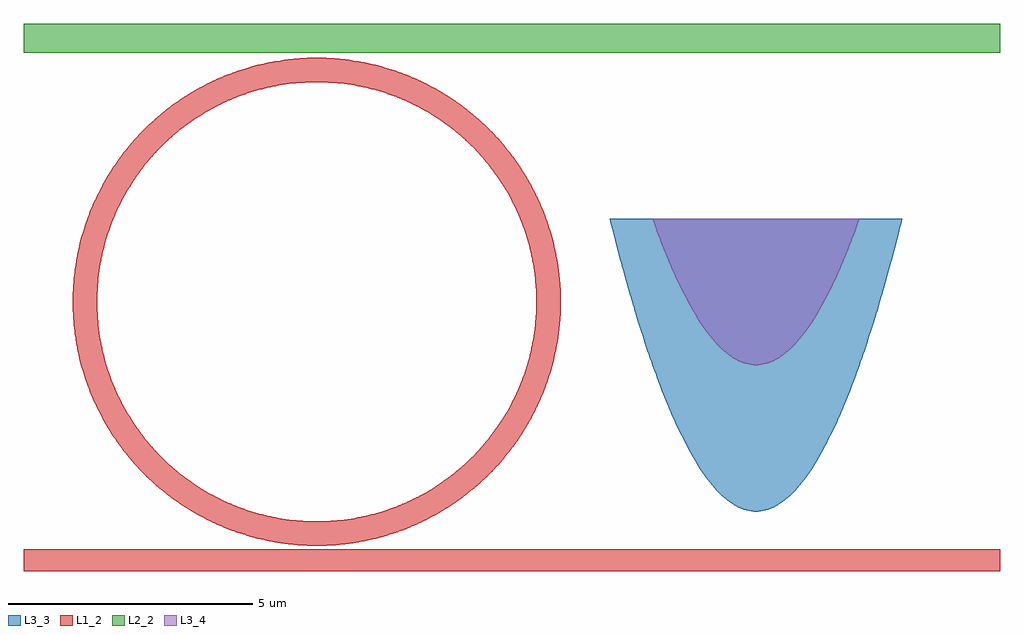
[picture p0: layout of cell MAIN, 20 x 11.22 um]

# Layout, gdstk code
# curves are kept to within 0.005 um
import gdstk
lib = gdstk.Library(unit=1e-6, precision=1e-09)
def R(c, l, rs):  # rectangles x0, y0, x1, y1
    for r in rs: c.add(gdstk.rectangle(r[:2], r[2:], *l))
def P(c, l, *ps):  # polygons
    for p in ps: c.add(gdstk.Polygon(p, *l))
L1_2 = (1, 2)
L2_2 = (2, 2)
L3_3 = (3, 3)
L3_4 = (3, 4)

main = lib.new_cell('MAIN')
R(main, L1_2, [(-10,-0.225,10,0.225)])
P(main, L1_2, [(-3.921,0.301),(-3.529,0.322),(-3.14,0.374),(-2.795,0.447),(-2.53,0.521),(-2.159,0.651),(-1.907,0.759),(-1.591,0.918),(-1.283,1.103),(-2.376,1.103),(-2.609,1.02),(-2.813,0.959),(-3.122,0.886),(-3.541,0.823),(-3.965,0.8),(-4.177,0.803),(-4.459,0.823),(-4.808,0.873),(-5.187,0.959),(-5.391,1.02),(-5.624,1.103),(-6.717,1.103),(-6.409,0.918),(-6.058,0.743),(-5.657,0.582),(-5.319,0.477),(-4.975,0.396),(-4.627,0.339),(-4.353,0.312),(-4.118,0.301)],
  [(-5.657,1.116),(-5.884,1.213),(-6.106,1.323),(-6.351,1.463),(-6.588,1.618),(-6.814,1.788),(-7.029,1.972),(-7.232,2.168),(-7.375,2.324),(-8.018,2.324),(-7.751,1.993),(-7.591,1.82),(-7.423,1.655),(-7.307,1.549),(-7.065,1.349),(-6.717,1.103),(-5.624,1.103)],
  [(-1.255,1.121),(-0.935,1.349),(-0.693,1.549),(-0.577,1.655),(-0.409,1.82),(-0.249,1.993),(0.018,2.324),(-0.625,2.324),(-0.768,2.168),(-0.971,1.972),(-1.186,1.788),(-1.412,1.618),(-1.649,1.463),(-1.894,1.323),(-2.116,1.213),(-2.376,1.103),(-1.283,1.103)],
  [(-7.399,2.351),(-7.599,2.598),(-7.742,2.8),(-7.909,3.07),(-8.01,3.257),(-8.116,3.48),(-8.222,3.742),(-8.291,3.943),(-8.376,4.248),(-8.888,4.248),(-8.823,3.981),(-8.743,3.718),(-8.649,3.459),(-8.557,3.242),(-8.419,2.96),(-8.324,2.789),(-8.179,2.555),(-8.022,2.329),(-7.375,2.324)],
  [(0.022,2.329),(0.179,2.555),(0.324,2.789),(0.419,2.96),(0.557,3.242),(0.649,3.459),(0.743,3.718),(0.823,3.981),(0.888,4.248),(0.376,4.248),(0.291,3.943),(0.222,3.742),(0.116,3.48),(0.01,3.257),(-0.127,3.009),(-0.298,2.741),(-0.444,2.542),(-0.625,2.324)],
  [(-8.999,5.221),(-8.988,4.947),(-8.97,4.751),(-8.926,4.44),(-8.888,4.248),(-8.376,4.248),(-8.427,4.492),(-8.465,4.736),(-8.489,4.982),(-8.5,5.265),(-8.497,5.477),(-8.477,5.759),(-8.445,6.004),(-8.376,6.352),(-8.888,6.352),(-8.926,6.16),(-8.978,5.771),(-8.998,5.457)],
  [(0.896,4.286),(0.95,4.595),(0.978,4.829),(0.998,5.143),(1,5.339),(0.988,5.653),(0.97,5.849),(0.926,6.16),(0.888,6.352),(0.376,6.352),(0.427,6.108),(0.465,5.864),(0.489,5.618),(0.5,5.335),(0.497,5.123),(0.477,4.841),(0.445,4.596),(0.376,4.248),(0.888,4.248)],
  [(-8.367,6.385),(-8.291,6.657),(-8.197,6.924),(-8.087,7.184),(-7.977,7.406),(-7.837,7.651),(-7.682,7.888),(-7.512,8.114),(-7.375,8.276),(-8.018,8.276),(-8.243,7.946),(-8.419,7.64),(-8.589,7.286),(-8.718,6.957),(-8.823,6.619),(-8.888,6.352),(-8.376,6.352)],
  [(0.88,6.391),(0.823,6.619),(0.718,6.957),(0.557,7.358),(0.419,7.64),(0.324,7.811),(0.179,8.045),(0.022,8.271),(-0.625,8.276),(-0.444,8.058),(-0.298,7.859),(-0.127,7.591),(0.01,7.343),(0.116,7.12),(0.222,6.858),(0.291,6.657),(0.376,6.352),(0.888,6.352)],
  [(-7.352,8.302),(-7.232,8.432),(-7.029,8.628),(-6.814,8.812),(-6.588,8.982),(-6.351,9.137),(-6.106,9.277),(-5.884,9.387),(-5.624,9.497),(-6.717,9.497),(-6.875,9.391),(-7.187,9.153),(-7.48,8.891),(-7.751,8.607),(-8.018,8.276),(-7.375,8.276)],
  [(-0.002,8.302),(-0.249,8.607),(-0.409,8.78),(-0.577,8.945),(-0.693,9.051),(-0.935,9.251),(-1.283,9.497),(-2.376,9.497),(-2.116,9.387),(-1.894,9.277),(-1.649,9.137),(-1.412,8.982),(-1.186,8.812),(-0.971,8.628),(-0.768,8.432),(-0.625,8.276),(0.018,8.276)],
  [(-1.288,9.5),(-1.591,9.682),(-1.907,9.841),(-2.269,9.991),(-2.567,10.09),(-2.909,10.18),(-3.295,10.25),(-3.647,10.288),(-4.039,10.3),(-4.353,10.288),(-4.705,10.25),(-5.091,10.18),(-5.47,10.079),(-5.841,9.949),(-6.093,9.841),(-6.409,9.682),(-6.717,9.497),(-5.624,9.497),(-5.391,9.58),(-5.187,9.641),(-4.878,9.714),(-4.459,9.777),(-4.035,9.8),(-3.823,9.797),(-3.541,9.777),(-3.192,9.727),(-2.813,9.641),(-2.609,9.58),(-2.376,9.497)])
R(main, L2_2, [(-10,10.4,10,11)])
P(main, L3_3, [(5.05,1.002),(5.15,1.015),(5.25,1.042),(5.35,1.082),(5.45,1.135),(5.6,1.24),(5.8,1.427),(5.95,1.602),(6.15,1.882),(6.35,2.215),(6.525,2.55),(6.732,3),(6.917,3.45),(7.086,3.9),(7.275,4.45),(7.465,5.05),(7.627,5.6),(7.82,6.3),(8,7),(2,7),(2.18,6.3),(2.416,5.45),(2.581,4.9),(2.775,4.3),(2.932,3.85),(3.15,3.282),(3.334,2.85),(3.525,2.45),(3.7,2.127),(3.9,1.807),(4.1,1.54),(4.3,1.327),(4.4,1.24),(4.5,1.167),(4.6,1.107),(4.7,1.06),(4.85,1.015),(4.95,1.002)])
P(main, L3_4, [(5.05,4.002),(5.15,4.015),(5.3,4.06),(5.45,4.135),(5.6,4.24),(5.75,4.375),(5.85,4.482),(5.95,4.602),(6.1,4.807),(6.2,4.96),(6.35,5.215),(6.6,5.707),(6.85,6.282),(7.121,7),(2.879,7),(3.15,6.282),(3.4,5.707),(3.65,5.215),(3.8,4.96),(3.95,4.735),(4.1,4.54),(4.25,4.375),(4.4,4.24),(4.5,4.167),(4.6,4.107),(4.75,4.042),(4.9,4.007)])

lib.write_gds('MAIN.gds')
